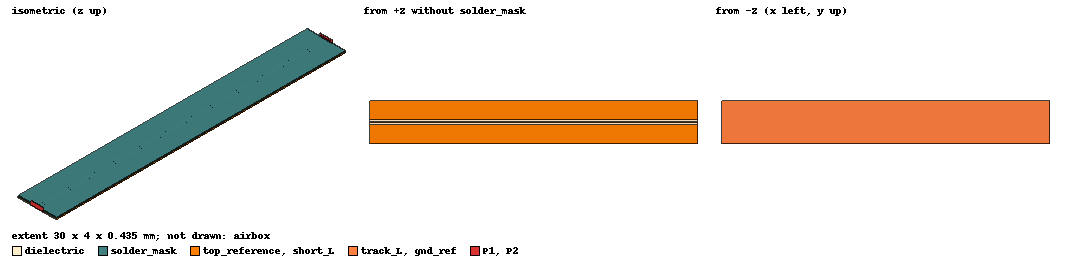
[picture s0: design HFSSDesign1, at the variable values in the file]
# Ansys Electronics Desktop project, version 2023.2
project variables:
  $model_W = 4mm
  $model_L = 30mm
  $dielectric_thickness = 100um
  $top_copper_thickness = 45um
  $track_width = 5.081mil
  $coplanar_gap = 6mil
  $port_W_ratio = 3
  $port_W = $port_W_ratio * ($track_width + 2*$coplanar_gap)
  $port_H_ratio = 3
  $port_H = $port_H_ratio * ($dielectric_thickness + $top_copper_thickness)
  $airbox_clearance = 100um
  $total_lane_L = 50mm
  $top_copper_mask_thickness = 25um
  $laminate_mask_thickness = 50um
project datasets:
  $Dk: units GHz, : (1000000000, 3.46) (13000000000, 3.39) (24000000000, 3.39) (35000000000, 3.39) (46000000000, 3.39) (56000000000, 3.39)
  $Df: units GHz, : (1000000000, 0.002) (13000000000, 0.0044) (24000000000, 0.0049) (35000000000, 0.0053) (46000000000, 0.0056) (56000000000, 0.0059)
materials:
  vacuum: permittivity=1
  Rogers RO4003 (tm): permittivity=3.55 dielectric_loss_tangent=0.0027
  copper: permeability=0.999991 conductivity=58000000
  air: permittivity=1.0006 permeability=1.0000004
  SolderMask: permittivity=4.6 dielectric_loss_tangent=0.035
  Megtron6_1035_Laminate: permittivity=pwl($Dk,Freq) dielectric_loss_tangent=pwl($Df,Freq)

design HFSSDesign1 (HFSS, HFSS Terminal Network, model units mm)
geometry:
  dielectric [Megtron6_1035_Laminate] = box(corner=(0mm, -$model_W/2, 0mm), size=($model_L, $model_W, $dielectric_thickness))
  top_reference [copper] = box(corner=(0mm, -$model_W/2, $dielectric_thickness), size=($model_L, $model_W, $top_copper_thickness))
  gnd_ref = rectangle(corner=(0mm, -$model_W/2, 0), x_size=$model_L, y_size=$model_W)
  lane_bed = box(corner=(0mm, -$track_width/2 -$coplanar_gap, $dielectric_thickness), size=($model_L, $track_width +2*$coplanar_gap, $top_copper_thickness))
  top_reference.subtract(lane_bed)
  track_L [copper] = box(corner=(0mm, -$track_width/2, $dielectric_thickness), size=($model_L, $track_width, $top_copper_thickness))
  airbox [air] = box(corner=(0mm, -$model_W/2 - $airbox_clearance/2, -$airbox_clearance), size=($model_L, $model_W + $airbox_clearance, 4mm))
  P1 = rectangle(corner=(0mm, -$port_W/2, 0mm), y_size=$port_W, z_size=$port_H)
  P2 = rectangle(corner=($model_L, -$port_W/2, 0mm), y_size=$port_W, z_size=$port_H)
  int_line_P2 = polyline(($model_L, 0mm, $dielectric_thickness) ($model_L, 0mm, 0mm))
  Polyline1 = polyline((0, 0mm, $dielectric_thickness) (0mm, 0mm, 0mm))
  short_L = rectangle(corner=(0mm, $model_W/2, 0mm), z_size=$dielectric_thickness, x_size=$model_L)
  short_R = rectangle(corner=(0mm, -$model_W/2, 0mm), z_size=$dielectric_thickness, x_size=$model_L)
  solder_mask [SolderMask] = box(corner=(0mm, -$model_W/2, $dielectric_thickness + $top_copper_thickness), size=($model_L, $model_W/2 - $track_width/2 - $coplanar_gap, $top_copper_mask_thickness))
  Box2 = box(corner=(0mm, -$track_width/2, $dielectric_thickness + $top_copper_thickness), size=($model_L, $track_width/2, $top_copper_mask_thickness))
  Box3 = box(corner=(0mm, -$track_width/2, $dielectric_thickness), size=($model_L, -$top_copper_mask_thickness, $top_copper_thickness + $top_copper_mask_thickness))
  Box4 = box(corner=(0mm, -$track_width/2 -$coplanar_gap, $dielectric_thickness), size=($model_L, $top_copper_mask_thickness, $top_copper_thickness + $top_copper_mask_thickness))
  Box5 = box(corner=(0mm, -$track_width/2 - $coplanar_gap + $top_copper_mask_thickness, $dielectric_thickness), size=($model_L, $coplanar_gap - 2*$top_copper_mask_thickness, $laminate_mask_thickness))
  Box1_1 = solder_mask.duplicate_mirror(point=(0mm, 0mm, 0mm), normal=(0mm, 1mm, 0mm))
  Box2_1 = Box2.duplicate_mirror(point=(0mm, 0mm, 0mm), normal=(0mm, 1mm, 0mm))
  Box3_1 = Box3.duplicate_mirror(point=(0mm, 0mm, 0mm), normal=(0mm, 1mm, 0mm))
  Box4_1 = Box4.duplicate_mirror(point=(0mm, 0mm, 0mm), normal=(0mm, 1mm, 0mm))
  Box5_1 = Box5.duplicate_mirror(point=(0mm, 0mm, 0mm), normal=(0mm, 1mm, 0mm))
  solder_mask.unite(Box1_1, Box2, Box2_1, Box3, Box3_1, Box4, Box5, Box4_1, Box5_1)
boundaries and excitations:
  ref_GND: Finite Conductivity Objects=gnd_ref UseMaterial Material=copper Thickness=17.5um IsInternal
  airbox: Radiation Objects=airbox
  short_R: Lumped RLC Objects=short_R CurrentLine{(0, -2, 0.1) -> (0, -2, 0)} RLC_Type=Parallel Resistance=0ohm
  short_L: Lumped RLC Objects=short_L CurrentLine{(0, 2, 0.1) -> (0, 2, 0)} RLC_Type=Parallel Resistance=0ohm
  track_L_T1: Terminal port=P1 Faces=track_L.face(-x) TerminalResistance=50ohm
  track_L_T2: Terminal port=P2 Faces=track_L.face(+x) TerminalResistance=50ohm
  P1: Wave Port Faces=P1.face WavePortType=Terminal NumModes=1
  P2: Wave Port Faces=P2.face WavePortType=Terminal NumModes=1
  reference conductors: gnd_ref, top_reference
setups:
  Setup1: HfssDriven Frequency=10GHz MaxDeltaS=0.001 MaximumPasses=30 MinimumPasses=1 MinimumConvergedPasses=1 PercentRefinement=30 BasisOrder=1 PortAccuracy=0.1 DrivenSolverType="Direct Solver"
    sweep Sweep: 7GHz to 10GHz, 20 points; Type=Discrete
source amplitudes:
  P1:1: 1V 0deg
  P2:1: 0V 0deg
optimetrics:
  ParametricSetup1: Parametric Sim._Setups=[Setup1]
    sweep $track_width: 5.081mil 4.76mil 5.181mil 4.981mil 5.281mil 5.381mil
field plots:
  Mesh1, Mesh2: MeshPlots over P1.face on Setup1 : LastAdaptive at Freq=10GHz Phase=0deg
  Mag_E1: E Field in dielectric on Setup1 : LastAdaptive at Freq=10GHz Phase=0deg
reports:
  Terminal S Parameter Plot 1: dB(St(track_L_T1,track_L_T1)) vs Freq on Setup1 : Sweep [$model_L=30mm $track_width=all]
  Terminal S Parameter Plot 2: max(dB(St(track_L_T1,track_L_T1))) vs $track_width on Setup1 : Sweep [Freq=9.21053GHz,9.36842GHz,9.52632GHz,9.68421GHz,9.84211GHz,10GHz $model_L=all]; markers m1 at 5.181mil
